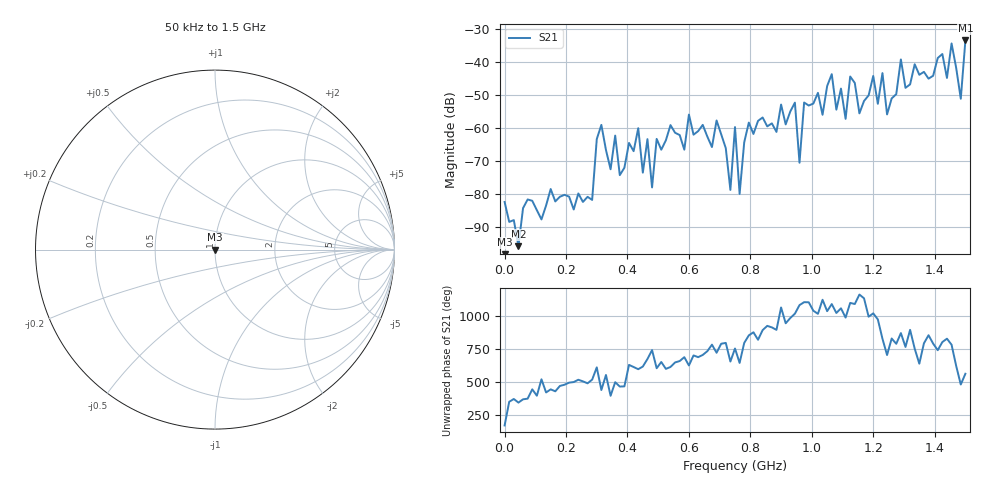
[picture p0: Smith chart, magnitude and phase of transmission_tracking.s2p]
! Created with skrf 1.8.0 (http://scikit-rf.org).
# Hz S RI R 50.0
!freq ReS11 ImS11 ReS21 ImS21 ReS12 ImS12 ReS22 ImS22
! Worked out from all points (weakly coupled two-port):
!   101 points, 50 kHz to 1.5 GHz, reference 50 ohm
!   highest |S21| = -33.47 dB at 1.5 GHz (marker M1); lowest = -95.9 dB at 45.05 MHz (marker M2)
!   lowest |S11| = - dB at 50 kHz (marker M3), VSWR 1.00, Z = 50 + j0 ohm
!   |S11| at or under -10 dB: start of sweep to end of sweep
!   S12 and S22 are empty: the file has one direction only
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50000  0 0  -7.42e-05 1.21e-05  0 0  0 0
4.50485e7  0 0  1.54e-05 -4.59e-06  0 0  0 0
2.550415e8  0 0  -6.08e-05 4.42e-05  0 0  0 0
2.850405e8  0 0  -7.45e-05 3.14e-05  0 0  0 0
3.150395e8  0 0  0.000218 0.00109  0 0  0 0
3.750375e8  0 0  -4.9e-05 0.000186  0 0  0 0
4.350355e8  0 0  -0.000554 -0.000821  0 0  0 0
4.80034e8  0 0  0.000117 4.35e-05  0 0  0 0
5.10033e8  0 0  0.000164 -0.000437  0 0  0 0
6.90027e8  0 0  0.0013 8.19e-06  0 0  0 0
7.350255e8  0 0  4.64e-05 -0.000105  0 0  0 0
7.50025e8  0 0  0.000868 0.000552  0 0  0 0
7.650245e8  0 0  2.31e-05 -9.69e-05  0 0  0 0
7.950235e8  0 0  -0.0008 0.000899  0 0  0 0
9.450185e8  0 0  0.00105 -0.00218  0 0  0 0
9.60018e8  0 0  0.000296 2.81e-06  0 0  0 0
9.750175e8  0 0  0.00224 0.000937  0 0  0 0
1.005016e9  0 0  0.00174 -0.00156  0 0  0 0
1.260008e9  0 0  -0.000863 0.00266  0 0  0 0
1.455002e9  0 0  0.00927 0.0167  0 0  0 0
1.485e9  0 0  -0.00139 0.00239  0 0  0 0
1.5e9  0 0  -0.0197 -0.00779  0 0  0 0
